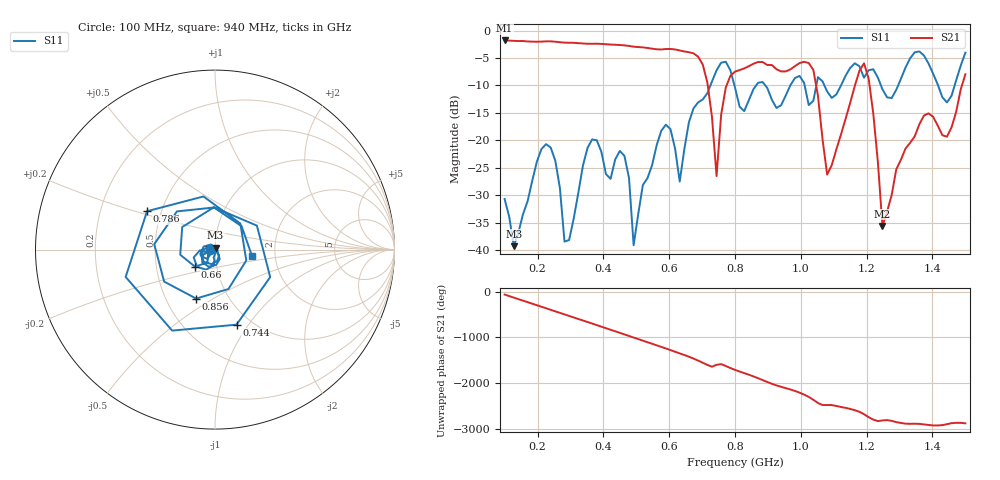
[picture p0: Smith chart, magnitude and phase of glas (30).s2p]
! NanoVNA-App
! Date: 2025-09-26 09:39:04
! Start: 100MHz Stop: 1,5GHz Points: 101
! S-Parameter data: F S11 S21 S12 S22
# Hz S RI R 50
!  Frequency  S11_Real  S11_Imag  S21_Real  S21_Imag  S12_Real  S12_Imag  S22_Real  S22_Imag
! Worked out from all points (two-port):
!   101 points, 100 MHz to 1.5 GHz, reference 50 ohm
!   highest |S21| = -1.79 dB at 100 MHz (marker M1); lowest = -35.6 dB at 1.248 GHz (marker M2)
!   |S21| within 3 dB of the highest: start of sweep to 688.3 MHz
!   lowest |S11| = -39.3 dB at 128 MHz (marker M3), VSWR 1.02, Z = 50.3 + j1.04 ohm
!   |S11| at or under -10 dB: start of sweep to 725.2 MHz; 798.3 MHz to 864.1 MHz (65.79 MHz wide, 7.91 % of centre); 892.2 MHz to 967.9 MHz (75.71 MHz wide, 8.14 % of centre)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
!   S12 and S22 are empty: the file has one direction only
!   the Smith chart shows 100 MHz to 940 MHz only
!   S11 on the Smith chart (normalised r, x): 100 MHz: 0.94, -0.01; 660 MHz: 0.79, -0.15; 744 MHz: 0.85, -0.88; 786 MHz: 0.42, +0.22; 856 MHz: 0.71, -0.42; 940 MHz: 1.51, -0.11
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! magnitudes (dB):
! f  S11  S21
! 100 MHz  -30.7  -1.8
! 128 MHz  -39.3  -1.9
! 212 MHz  -21.6  -2.0
! 282 MHz  -38.5  -2.2
! 338 MHz  -24.6  -2.3
! 464 MHz  -22.8  -2.7
! 492 MHz  -39.1  -2.9
! 576 MHz  -18.3  -3.4
! 632 MHz  -27.5  -3.6
! 660 MHz  -16.7  -3.9
! 716 MHz  -11.4  -9.5
! 744 MHz  -7.2  -26.5
! 786 MHz  -7.2  -8.2
! 800 MHz  -10.4  -7.5
! 856 MHz  -10.7  -6.0
! 940 MHz  -13.6  -7.4
! 1.038 GHz  -12.8  -7.2
! 1.08 GHz  -11.1  -26.3
! 1.192 GHz  -8.6  -6.0
! 1.248 GHz  -10.7  -35.6
! 1.276 GHz  -12.3  -30.0
! 1.5 GHz  -4.0  -8.0
